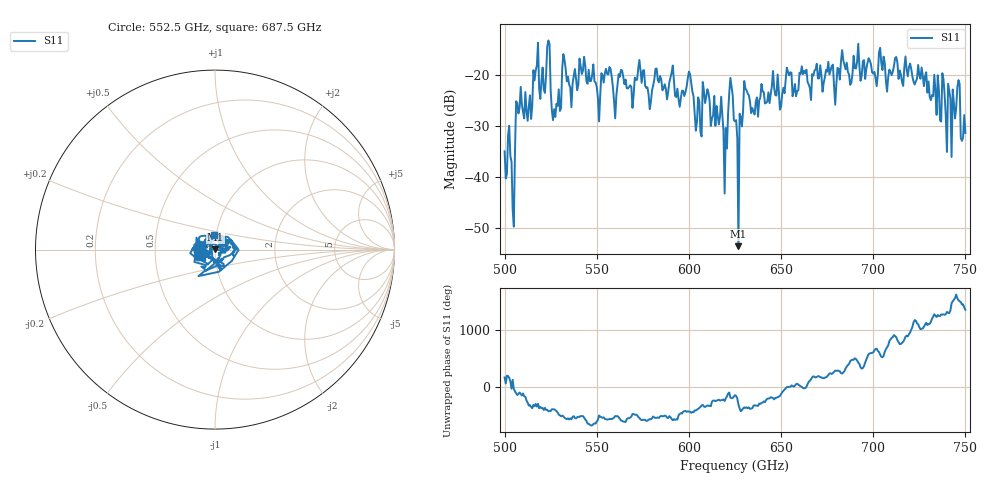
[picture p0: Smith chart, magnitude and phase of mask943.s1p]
!Created with skrf (http://scikit-rf.org).
# GHz S MA R 50.0
!freq magS11 angS11
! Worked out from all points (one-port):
!   401 points, 500 GHz to 750 GHz, reference 50 ohm
!   lowest |S11| = -53.6 dB at 626.9 GHz (marker M1), VSWR 1.00, Z = 50.1 + j0.179 ohm
!   |S11| at or under -10 dB: start of sweep to end of sweep
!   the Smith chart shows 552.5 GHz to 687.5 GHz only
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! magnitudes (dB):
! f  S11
! 500 GHz  -35.0
! 502.5 GHz  -30.0
! 504.4 GHz  -46.4
! 507.5 GHz  -27.6
! 513.8 GHz  -24.0
! 516.9 GHz  -19.1
! 520.6 GHz  -18.6
! 523.8 GHz  -13.3
! 526.9 GHz  -26.8
! 531.2 GHz  -18.7
! 556.2 GHz  -20.0
! 560 GHz  -28.6
! 562.5 GHz  -20.4
! 593.8 GHz  -22.7
! 600.6 GHz  -19.9
! 605.6 GHz  -25.2
! 608.8 GHz  -25.6
! 619.4 GHz  -43.3
! 622.5 GHz  -20.6
! 625 GHz  -29.1
! 626.9 GHz  -53.6
! 631.2 GHz  -23.1
! 656.2 GHz  -24.2
! 687.5 GHz  -22.0
! 718.8 GHz  -20.3
! 741.2 GHz  -23.3
! 745.6 GHz  -22.5
! 750 GHz  -31.4
